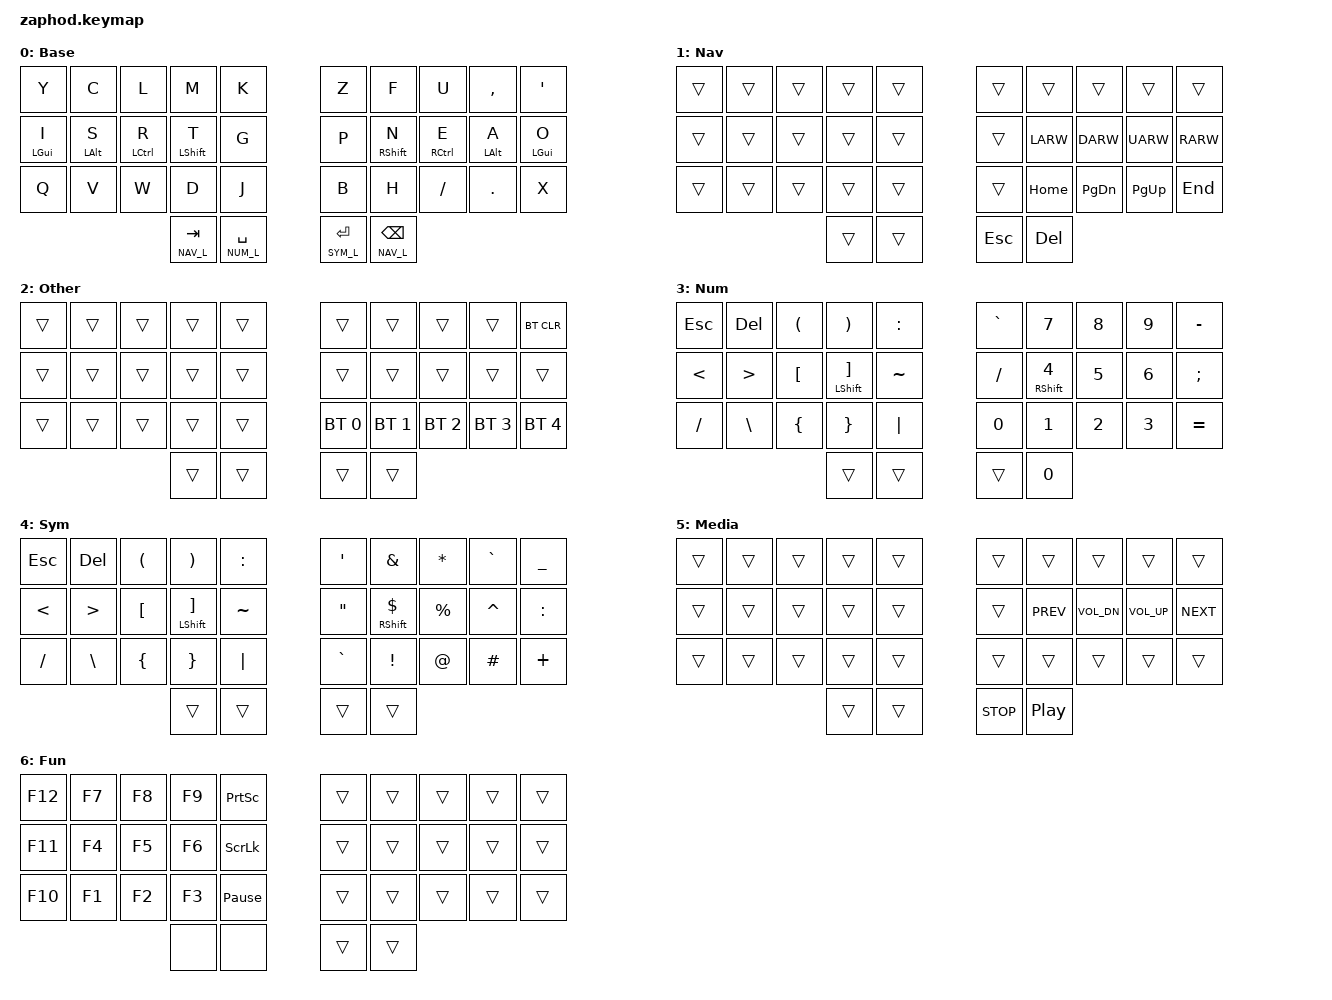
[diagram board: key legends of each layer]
/*
 * Copyright (c) 2021 Pete Johanson
 *
 * SPDX-License-Identifier: MIT
 */

#include <behaviors.dtsi>
#include <dt-bindings/zmk/keys.h>
#include <dt-bindings/zmk/bt.h>
#include <dt-bindings/zmk/outputs.h>

#define NAV_L 1
#define OTH_L 2
#define NUM_L 3
#define SYM_L 4
#define MED_L 5
#define FUN_L 6

// Using layer taps on thumbs, having quick tap as well helps w/ repeating space/backspace
&lt { quick_tap_ms = <200>; };

/ {
    combos {
        compatible = "zmk,combos";

        oth_mo {
	    timeout-ms = <50>;
            key-positions = <30 33>;
            bindings = <&mo OTH_L>;
        };

        med_mo {
	    timeout-ms = <50>;
            key-positions = <30 31>;
            bindings = <&mo MED_L>;
        };

        caps {
	    timeout-ms = <50>;
            key-positions = <31 32>;
            bindings = <&caps_word>;
        };

        fn_mo {
	    timeout-ms = <50>;
            key-positions = <32 33>;
            bindings = <&mo FUN_L>;
        };

    };

    behaviors {
        hm: homerow_mods {
            compatible = "zmk,behavior-hold-tap";
            label = "homerow mods";
            #binding-cells = <2>;
            tapping_term_ms = <200>;
            flavor = "tap-preferred";
            bindings = <&kp>, <&kp>;
        };
    };

    keymap {
        compatible = "zmk,keymap";

        default_layer {
            label = "Base";
            bindings = <
                &kp Y         &kp C      &kp L       &kp M          &kp K         &kp Z            &kp F          &kp U       &kp COMMA  &kp SQT
                &hm LGUI I    &hm LALT S &hm LCTRL R &hm LSHFT T    &kp G         &kp P            &hm RSHFT N    &hm RCTRL E &hm LALT A &hm LGUI O
                &kp Q         &kp V      &kp W       &kp D          &kp J         &kp B            &kp H          &kp FSLH    &kp DOT    &kp X
                                         &lt NAV_L TAB   &lt NUM_L SPACE          &lt SYM_L RET  &lt NAV_L BKSP   
            >;
        };

        nav_layer {
            label = "Nav";
            bindings = <
                &trans     &trans     &trans      &trans          &trans       &trans           &trans         &trans      &trans     &trans
                &trans     &trans     &trans      &trans          &trans       &trans           &kp LARW       &kp DARW    &kp UARW   &kp RARW
                &trans     &trans     &trans      &trans          &trans       &trans           &kp HOME       &kp PG_DN   &kp PG_UP  &kp END
                                                  &trans          &trans       &kp ESC          &kp DEL
            >;
        };

        other_layer {
            label = "Other";
            bindings = <
                &trans	   &trans     &trans      &trans          &trans       &trans           &trans         &trans       &trans       &bt BT_CLR
                &trans     &trans     &trans      &trans          &trans       &trans           &trans         &trans       &trans       &trans
                &trans     &trans     &trans      &trans          &trans       &bt BT_SEL 0     &bt BT_SEL 1   &bt BT_SEL 2 &bt BT_SEL 3 &bt BT_SEL 4
                                                  &trans          &trans       &trans           &trans
            >;
        };

        num_layer {
            label = "Num";
            bindings = <
                &kp ESC   &kp DEL    &kp LPAR      &kp RPAR         &kp COLON     &kp GRAVE        &kp N7         &kp N8      &kp N9     &kp MINUS
                &kp LT    &kp GT     &kp LBKT      &hm LSHFT RBKT   &kp TILDE     &kp FSLH         &hm RSHFT N4   &kp N5      &kp N6     &kp SEMI
                &kp FSLH  &kp BSLH   &kp LBRC      &kp RBRC         &kp PIPE      &kp N0           &kp N1         &kp N2      &kp N3     &kp EQUAL
                                                   &trans           &trans        &trans           &kp N0
            >;
        };

        sym_layer {
            label = "Sym";
            bindings = <
                &kp ESC   &kp DEL     &kp LPAR      &kp RPAR         &kp COLON        &kp SQT   &kp AMPS  &kp STAR   &kp GRAVE  &kp UNDER
                &kp LT    &kp GT      &kp LBKT      &hm LSHFT RBKT   &kp TILDE        &kp DQT   &hm RSHFT DLLR  &kp PRCNT  &kp CARET  &kp COLON
                &kp FSLH  &kp BSLH    &kp LBRC      &kp RBRC         &kp PIPE         &kp GRAVE &kp EXCL  &kp AT     &kp HASH   &kp PLUS
                                                   &trans   &trans         &trans &trans
            >;
        };

        media_layer {
            label = "Media";
            bindings = <
                &trans	   &trans     &trans      &trans          &trans       &trans           &trans         &trans       &trans       &trans
                &trans     &trans     &trans      &trans          &trans       &trans           &kp C_PREV     &kp C_VOL_DN &kp C_VOL_UP &kp C_NEXT
                &trans     &trans     &trans      &trans          &trans       &trans           &trans         &trans       &trans       &trans
                                                  &trans          &trans       &kp C_STOP       &kp C_PLAY_PAUSE
            >;
        };

        fun_layer {
            label = "Fun";
            bindings = <
                &kp F12     &kp F7     &kp F8      &kp F9     &kp PSCRN         &trans          &trans         &trans      &trans     &trans
                &kp F11     &kp F4     &kp F5      &kp F6     &kp SLCK          &trans          &trans         &trans      &trans     &trans
                &kp F10     &kp F1     &kp F2      &kp F3     &kp PAUSE_BREAK   &trans          &trans         &trans      &trans     &trans
                                                   &none      &none             &trans          &trans
            >;
        };
    };
};

